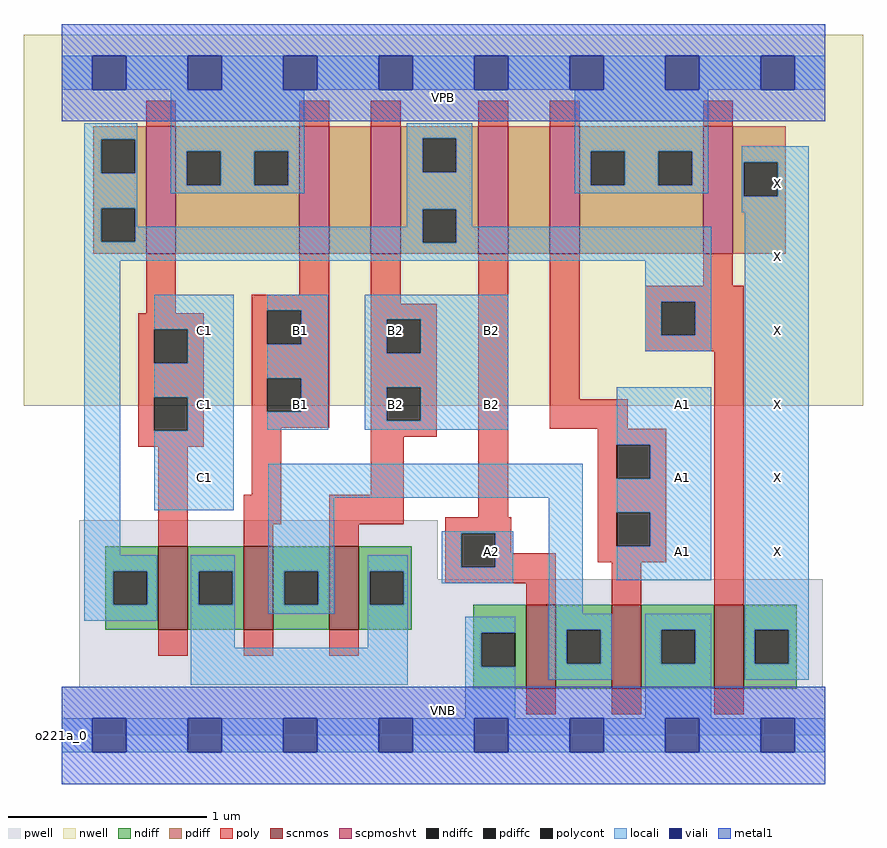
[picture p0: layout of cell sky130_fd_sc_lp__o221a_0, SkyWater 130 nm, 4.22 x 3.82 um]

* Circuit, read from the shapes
.subckt sky130_fd_sc_lp__o221a_0 A1 A2 B1 B2 C1 VGND VNB VPB VPWR X
XM1 n1 C1 n2 VNB sky130_fd_pr__nfet_01v8 w=0.42 l=0.15
XM2 n3 B1 n1 VNB sky130_fd_pr__nfet_01v8 w=0.42 l=0.15
XM3 n1 B2 n3 VNB sky130_fd_pr__nfet_01v8 w=0.42 l=0.15
XM4 n3 A2 VGND VNB sky130_fd_pr__nfet_01v8 w=0.42 l=0.15
XM5 VGND A1 n3 VNB sky130_fd_pr__nfet_01v8 w=0.42 l=0.15
XM6 X n2 VGND VNB sky130_fd_pr__nfet_01v8 w=0.42 l=0.15
XM7 VPWR C1 n2 VPB sky130_fd_pr__pfet_01v8_hvt w=0.64 l=0.15
XM8 n4 B1 VPWR VPB sky130_fd_pr__pfet_01v8_hvt w=0.64 l=0.15
XM9 n2 B2 n4 VPB sky130_fd_pr__pfet_01v8_hvt w=0.64 l=0.15
XM10 n5 A2 n2 VPB sky130_fd_pr__pfet_01v8_hvt w=0.64 l=0.15
XM11 VPWR A1 n5 VPB sky130_fd_pr__pfet_01v8_hvt w=0.64 l=0.15
XM12 X n2 VPWR VPB sky130_fd_pr__pfet_01v8_hvt w=0.64 l=0.15
.ends

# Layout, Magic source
magic
tech sky130A
magscale 1 2
<< nwell >>
rect -38 331 806 704
<< pwell >>
rect 18 157 378 216
rect 18 49 765 157
rect 0 0 768 49
<< scnmos >>
rect 97 106 127 190
rect 183 106 213 190
rect 269 106 299 190
rect 467 47 497 131
rect 553 47 583 131
rect 656 47 686 131
<< scpmoshvt >>
rect 85 484 115 612
rect 239 484 269 612
rect 311 484 341 612
rect 419 484 449 612
rect 491 484 521 612
rect 645 484 675 612
<< ndiff >>
rect 44 165 97 190
rect 44 131 52 165
rect 86 131 97 165
rect 44 106 97 131
rect 127 165 183 190
rect 127 131 138 165
rect 172 131 183 165
rect 127 106 183 131
rect 213 165 269 190
rect 213 131 224 165
rect 258 131 269 165
rect 213 106 269 131
rect 299 165 352 190
rect 299 131 310 165
rect 344 131 352 165
rect 299 106 352 131
rect 414 103 467 131
rect 414 69 422 103
rect 456 69 467 103
rect 414 47 467 69
rect 497 106 553 131
rect 497 72 508 106
rect 542 72 553 106
rect 497 47 553 72
rect 583 106 656 131
rect 583 72 603 106
rect 637 72 656 106
rect 583 47 656 72
rect 686 106 739 131
rect 686 72 697 106
rect 731 72 739 106
rect 686 47 739 72
<< pdiff >>
rect 32 599 85 612
rect 32 565 40 599
rect 74 565 85 599
rect 32 530 85 565
rect 32 496 40 530
rect 74 496 85 530
rect 32 484 85 496
rect 115 587 239 612
rect 115 553 126 587
rect 160 553 194 587
rect 228 553 239 587
rect 115 484 239 553
rect 269 484 311 612
rect 341 600 419 612
rect 341 566 363 600
rect 397 566 419 600
rect 341 529 419 566
rect 341 495 363 529
rect 397 495 419 529
rect 341 484 419 495
rect 449 484 491 612
rect 521 587 645 612
rect 521 553 532 587
rect 566 553 600 587
rect 634 553 645 587
rect 521 484 645 553
rect 675 576 728 612
rect 675 542 686 576
rect 720 542 728 576
rect 675 484 728 542
<< ndiffc >>
rect 52 131 86 165
rect 138 131 172 165
rect 224 131 258 165
rect 310 131 344 165
rect 422 69 456 103
rect 508 72 542 106
rect 603 72 637 106
rect 697 72 731 106
<< pdiffc >>
rect 40 565 74 599
rect 40 496 74 530
rect 126 553 160 587
rect 194 553 228 587
rect 363 566 397 600
rect 363 495 397 529
rect 532 553 566 587
rect 600 553 634 587
rect 686 542 720 576
<< poly >>
rect 85 612 115 638
rect 239 612 269 638
rect 311 612 341 638
rect 419 612 449 638
rect 491 612 521 638
rect 645 612 675 638
rect 85 424 115 484
rect 239 443 269 484
rect 191 427 269 443
rect 77 408 143 424
rect 77 374 93 408
rect 127 374 143 408
rect 77 340 143 374
rect 77 306 93 340
rect 127 306 143 340
rect 77 290 143 306
rect 191 393 207 427
rect 241 393 269 427
rect 191 359 269 393
rect 191 325 207 359
rect 241 325 269 359
rect 191 309 269 325
rect 311 434 341 484
rect 311 418 377 434
rect 311 384 327 418
rect 361 384 377 418
rect 311 350 377 384
rect 311 316 327 350
rect 361 316 377 350
rect 97 190 127 290
rect 191 242 221 309
rect 311 300 377 316
rect 311 242 344 300
rect 183 212 221 242
rect 269 212 344 242
rect 419 219 449 484
rect 491 338 521 484
rect 645 452 675 484
rect 587 436 686 452
rect 587 402 603 436
rect 637 402 686 436
rect 587 386 686 402
rect 491 308 569 338
rect 539 292 608 308
rect 539 258 558 292
rect 592 258 608 292
rect 539 224 608 258
rect 183 190 213 212
rect 269 190 299 212
rect 386 203 452 219
rect 386 169 402 203
rect 436 183 452 203
rect 539 190 558 224
rect 592 190 608 224
rect 436 169 497 183
rect 539 174 608 190
rect 386 153 497 169
rect 467 131 497 153
rect 553 131 583 174
rect 656 131 686 386
rect 97 80 127 106
rect 183 80 213 106
rect 269 80 299 106
rect 467 21 497 47
rect 553 21 583 47
rect 656 21 686 47
<< polycont >>
rect 93 374 127 408
rect 93 306 127 340
rect 207 393 241 427
rect 207 325 241 359
rect 327 384 361 418
rect 327 316 361 350
rect 603 402 637 436
rect 558 258 592 292
rect 402 169 436 203
rect 558 190 592 224
<< locali >>
rect 0 649 31 683
rect 65 649 127 683
rect 161 649 223 683
rect 257 649 319 683
rect 353 649 415 683
rect 449 649 511 683
rect 545 649 607 683
rect 641 649 703 683
rect 737 649 768 683
rect 23 599 76 615
rect 23 565 40 599
rect 74 565 76 599
rect 23 530 76 565
rect 110 587 244 649
rect 110 553 126 587
rect 160 553 194 587
rect 228 553 244 587
rect 110 545 244 553
rect 347 600 413 615
rect 347 566 363 600
rect 397 566 413 600
rect 23 496 40 530
rect 74 511 76 530
rect 347 529 413 566
rect 516 587 650 649
rect 516 553 532 587
rect 566 553 600 587
rect 634 553 650 587
rect 516 545 650 553
rect 684 576 751 592
rect 347 511 363 529
rect 74 496 363 511
rect 23 495 363 496
rect 397 511 413 529
rect 684 542 686 576
rect 720 542 751 576
rect 684 526 751 542
rect 397 495 653 511
rect 23 477 653 495
rect 23 181 59 477
rect 93 408 173 443
rect 127 374 173 408
rect 93 340 173 374
rect 127 306 173 340
rect 207 427 268 443
rect 241 393 268 427
rect 207 359 268 393
rect 241 325 268 359
rect 207 307 268 325
rect 305 418 449 443
rect 305 384 327 418
rect 361 384 449 418
rect 587 436 653 477
rect 587 402 603 436
rect 637 402 653 436
rect 587 386 653 402
rect 305 350 449 384
rect 305 316 327 350
rect 361 316 449 350
rect 305 307 449 316
rect 93 226 173 306
rect 558 292 653 350
rect 208 239 524 273
rect 23 165 96 181
rect 23 131 52 165
rect 86 131 96 165
rect 23 115 96 131
rect 130 165 174 181
rect 130 131 138 165
rect 172 131 174 165
rect 130 88 174 131
rect 208 165 274 239
rect 382 203 454 205
rect 208 131 224 165
rect 258 131 274 165
rect 208 122 274 131
rect 308 165 348 181
rect 308 131 310 165
rect 344 131 348 165
rect 382 169 402 203
rect 436 169 454 203
rect 382 153 454 169
rect 308 88 348 131
rect 490 122 524 239
rect 592 258 653 292
rect 558 224 653 258
rect 592 190 653 224
rect 558 156 653 190
rect 130 51 348 88
rect 406 103 456 119
rect 406 69 422 103
rect 406 17 456 69
rect 490 106 553 122
rect 490 72 508 106
rect 542 72 553 106
rect 490 56 553 72
rect 587 106 653 122
rect 587 72 603 106
rect 637 72 653 106
rect 587 17 653 72
rect 687 106 751 526
rect 687 72 697 106
rect 731 72 751 106
rect 687 56 751 72
rect 0 -17 31 17
rect 65 -17 127 17
rect 161 -17 223 17
rect 257 -17 319 17
rect 353 -17 415 17
rect 449 -17 511 17
rect 545 -17 607 17
rect 641 -17 703 17
rect 737 -17 768 17
<< viali >>
rect 31 649 65 683
rect 127 649 161 683
rect 223 649 257 683
rect 319 649 353 683
rect 415 649 449 683
rect 511 649 545 683
rect 607 649 641 683
rect 703 649 737 683
rect 31 -17 65 17
rect 127 -17 161 17
rect 223 -17 257 17
rect 319 -17 353 17
rect 415 -17 449 17
rect 511 -17 545 17
rect 607 -17 641 17
rect 703 -17 737 17
<< metal1 >>
rect 0 683 768 715
rect 0 649 31 683
rect 65 649 127 683
rect 161 649 223 683
rect 257 649 319 683
rect 353 649 415 683
rect 449 649 511 683
rect 545 649 607 683
rect 641 649 703 683
rect 737 649 768 683
rect 0 617 768 649
rect 0 17 768 49
rect 0 -17 31 17
rect 65 -17 127 17
rect 161 -17 223 17
rect 257 -17 319 17
rect 353 -17 415 17
rect 449 -17 511 17
rect 545 -17 607 17
rect 641 -17 703 17
rect 737 -17 768 17
rect 0 -49 768 -17
<< labels >>
flabel pwell s 0 0 768 49 0 FreeSans 200 0 0 0 VNB
port 7 nsew ground bidirectional
flabel nwell s 0 617 768 666 0 FreeSans 200 0 0 0 VPB
port 8 nsew power bidirectional
rlabel comment s 0 0 0 0 4 o221a_0
flabel metal1 s 0 617 768 666 0 FreeSans 340 0 0 0 VPWR
port 9 nsew power bidirectional
flabel metal1 s 0 0 768 49 0 FreeSans 340 0 0 0 VGND
port 6 nsew ground bidirectional
flabel locali s 415 168 449 202 0 FreeSans 340 0 0 0 A2
port 2 nsew signal input
flabel locali s 223 316 257 350 0 FreeSans 340 0 0 0 B1
port 3 nsew signal input
flabel locali s 223 390 257 424 0 FreeSans 340 0 0 0 B1
port 3 nsew signal input
flabel locali s 319 316 353 350 0 FreeSans 340 0 0 0 B2
port 4 nsew signal input
flabel locali s 319 390 353 424 0 FreeSans 340 0 0 0 B2
port 4 nsew signal input
flabel locali s 415 316 449 350 0 FreeSans 340 0 0 0 B2
port 4 nsew signal input
flabel locali s 415 390 449 424 0 FreeSans 340 0 0 0 B2
port 4 nsew signal input
flabel locali s 127 242 161 276 0 FreeSans 340 0 0 0 C1
port 5 nsew signal input
flabel locali s 127 316 161 350 0 FreeSans 340 0 0 0 C1
port 5 nsew signal input
flabel locali s 127 390 161 424 0 FreeSans 340 0 0 0 C1
port 5 nsew signal input
flabel locali s 607 168 641 202 0 FreeSans 340 0 0 0 A1
port 1 nsew signal input
flabel locali s 607 242 641 276 0 FreeSans 340 0 0 0 A1
port 1 nsew signal input
flabel locali s 607 316 641 350 0 FreeSans 340 0 0 0 A1
port 1 nsew signal input
flabel locali s 703 168 737 202 0 FreeSans 340 0 0 0 X
port 10 nsew signal output
flabel locali s 703 242 737 276 0 FreeSans 340 0 0 0 X
port 10 nsew signal output
flabel locali s 703 316 737 350 0 FreeSans 340 0 0 0 X
port 10 nsew signal output
flabel locali s 703 390 737 424 0 FreeSans 340 0 0 0 X
port 10 nsew signal output
flabel locali s 703 464 737 498 0 FreeSans 340 0 0 0 X
port 10 nsew signal output
flabel locali s 703 538 737 572 0 FreeSans 340 0 0 0 X
port 10 nsew signal output
<< properties >>
string LEFsite unit
string LEFclass CORE
string FIXED_BBOX 0 0 768 666
string GDS_FILE $PDKPATH/libs.ref/sky130_fd_sc_lp/gds/sky130_fd_sc_lp.gds
string LEFsymmetry X Y R90
string GDS_END 4858650
string GDS_START 4850098
<< end >>
